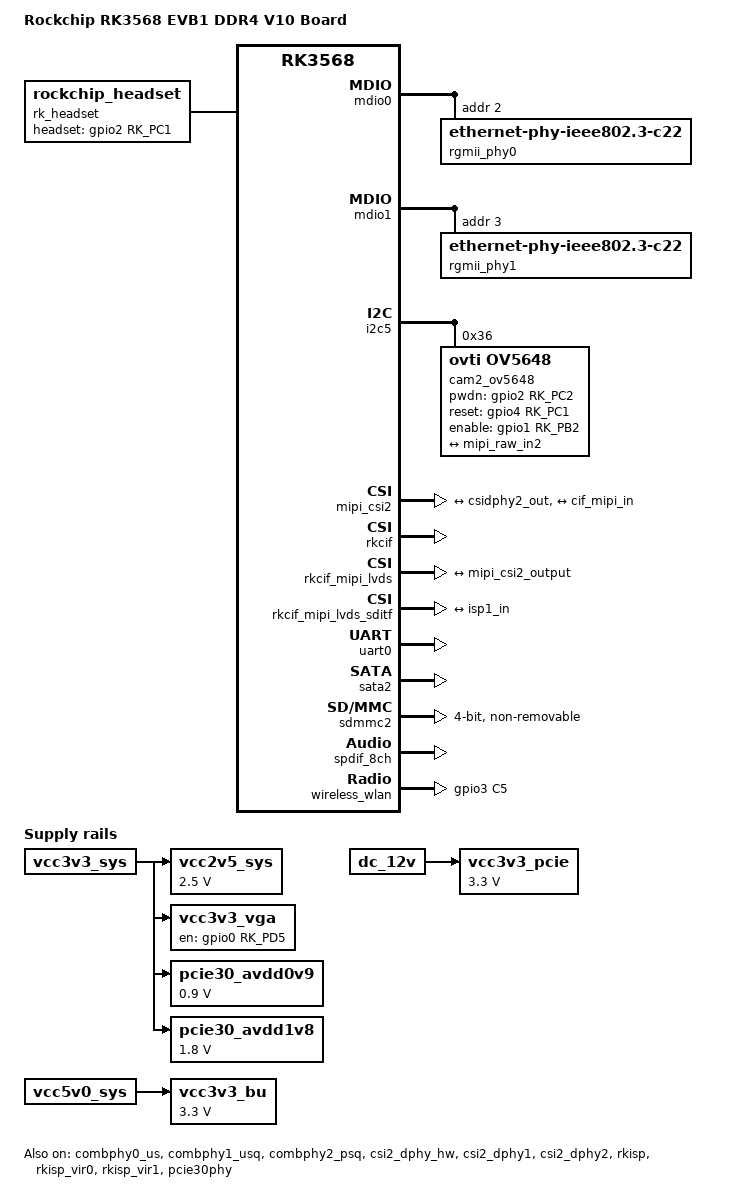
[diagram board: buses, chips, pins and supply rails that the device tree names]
// SPDX-License-Identifier: (GPL-2.0+ OR MIT)
/*
 * Copyright (c) 2020 Rockchip Electronics Co., Ltd.
 *
 */

/dts-v1/;

#include <dt-bindings/gpio/gpio.h>
#include <dt-bindings/pinctrl/rockchip.h>
#include "rk3568.dtsi"
#include "rk3568-jenet.dtsi"

/ {
	model = "Rockchip RK3568 EVB1 DDR4 V10 Board";
	compatible = "rockchip,rk3568-evb1-ddr4-v10", "rockchip,rk3568";

	rk_headset: rk-headset {
		status = "okay";
		compatible = "rockchip_headset";
		headset_gpio = <&gpio2 RK_PC1 GPIO_ACTIVE_HIGH>;
		pinctrl-names = "default";
		pinctrl-0 = <&hp_det>;
	};

	vcc2v5_sys: vcc2v5-ddr {
		compatible = "regulator-fixed";
		regulator-name = "vcc2v5-sys";
		regulator-always-on;
		regulator-boot-on;
		regulator-min-microvolt = <2500000>;
		regulator-max-microvolt = <2500000>;
		vin-supply = <&vcc3v3_sys>;
	};

	vcc3v3_vga: vcc3v3-vga {
		compatible = "regulator-fixed";
		regulator-name = "vcc3v3_vga";
		regulator-always-on;
		regulator-boot-on;
		gpio = <&gpio0 RK_PD5 GPIO_ACTIVE_HIGH>;
		enable-active-high;
		vin-supply = <&vcc3v3_sys>;
	};

	pcie30_avdd0v9: pcie30-avdd0v9 {
		compatible = "regulator-fixed";
		regulator-name = "pcie30_avdd0v9";
		regulator-always-on;
		regulator-boot-on;
		regulator-min-microvolt = <900000>;
		regulator-max-microvolt = <900000>;
		vin-supply = <&vcc3v3_sys>;
	};

	pcie30_avdd1v8: pcie30-avdd1v8 {
		compatible = "regulator-fixed";
		regulator-name = "pcie30_avdd1v8";
		regulator-always-on;
		regulator-boot-on;
		regulator-min-microvolt = <1800000>;
		regulator-max-microvolt = <1800000>;
		vin-supply = <&vcc3v3_sys>;
	};

	vcc3v3_pcie: gpio-regulator {
		compatible = "regulator-fixed";
		regulator-name = "vcc3v3_pcie";
		regulator-min-microvolt = <3300000>;
		regulator-max-microvolt = <3300000>;
		enable-active-high;
		//gpios = <&gpio0 RK_PD4 GPIO_ACTIVE_HIGH>;
		vin-supply = <&dc_12v>;
	};

	vcc3v3_bu: vcc3v3-bu {
		compatible = "regulator-fixed";
		regulator-name = "vcc3v3_bu";
		regulator-always-on;
		regulator-boot-on;
		regulator-min-microvolt = <3300000>;
		regulator-max-microvolt = <3300000>;
		vin-supply = <&vcc5v0_sys>;
	};
};

&combphy0_us {
	status = "okay";
};

&combphy1_usq {
	status = "okay";
};

&combphy2_psq {
	status = "okay";
};

&gmac0 {
	phy-mode = "rgmii";
	clock_in_out = "output";

	snps,reset-gpio = <&gpio2 RK_PC5 GPIO_ACTIVE_LOW>;            //RK_PB1    RK_PC5
	snps,reset-active-low;
	snps,reset-delays-us = <0 30000 150000>;

	assigned-clocks = <&cru SCLK_GMAC0_RX_TX>, <&cru SCLK_GMAC0>;
	assigned-clock-parents = <&cru SCLK_GMAC0_RGMII_SPEED>,<&cru CLK_MAC0_2TOP>;
	assigned-clock-rates = <0>, <125000000>;

	pinctrl-names = "default";
	pinctrl-0 = <&gmac0_miim
		     &gmac0_tx_bus2
		     &gmac0_rx_bus2
		     &gmac0_rgmii_clk
		     &gmac0_rgmii_bus>;

	tx_delay = <0x00>;
	rx_delay = <0x00>;

	phy-handle = <&rgmii_phy0>;
	status = "disabled";
};

&gmac1 {
	phy-mode = "rgmii";
	clock_in_out = "output";

	snps,reset-gpio = <&gpio3 RK_PD5 GPIO_ACTIVE_LOW>;     //gpio4 RK_PB5    gpio3 RK_PD5
	snps,reset-active-low;
	/* Reset time is 20ms, 100ms for rtl8211f */
	snps,reset-delays-us = <0 30000 150000>;

	assigned-clocks = <&cru SCLK_GMAC1_RX_TX>, <&cru SCLK_GMAC1>;
	assigned-clock-parents = <&cru SCLK_GMAC1_RGMII_SPEED>,<&cru CLK_MAC1_2TOP>;
	assigned-clock-rates = <0>, <125000000>;

	pinctrl-names = "default";
	pinctrl-0 = <&gmac1m1_miim
		     &gmac1m1_tx_bus2
		     &gmac1m1_rx_bus2
		     &gmac1m1_rgmii_clk
		     &gmac1m1_rgmii_bus>;

	tx_delay = <0x00>;
	rx_delay = <0x00>;

	phy-handle = <&rgmii_phy1>;
	status = "disabled";
};

&mdio0 {
	rgmii_phy0: phy@2{
		compatible = "ethernet-phy-ieee802.3-c22";
		reg = <0x2>;
	};
};

&mdio1 {
	rgmii_phy1: phy@3{
		compatible = "ethernet-phy-ieee802.3-c22";
		reg = <0x3>;
	};
};

&i2c4 {
	status = "disabled";

	gc8034: gc8034@37 {
		compatible = "galaxycore,gc8034";
		status = "disabled";
		reg = <0x37>;
		clocks = <&cru CLK_CIF_OUT>;
		clock-names = "xvclk";
		pinctrl-names = "default";
		pinctrl-0 = <&cif_clk>;
		reset-gpios = <&gpio3 RK_PB6 GPIO_ACTIVE_LOW>;
		pwdn-gpios = <&gpio4 RK_PB4 GPIO_ACTIVE_LOW>;
		rockchip,grf = <&grf>;
		power-domains = <&power RK3568_PD_VI>;
		rockchip,camera-module-index = <0>;
		rockchip,camera-module-facing = "back";
		rockchip,camera-module-name = "RK-CMK-8M-2-v1";
		rockchip,camera-module-lens-name = "CK8401";
		port {
			gc8034_out: endpoint {
				remote-endpoint = <&mipi_in_ucam1>;
				data-lanes = <1 2 3 4>;
			};
		};
	};

	os04a10: os04a10@36 {
		status = "disabled";
		compatible = "ovti,os04a10";
		reg = <0x36>;
		clocks = <&cru CLK_CIF_OUT>;
		clock-names = "xvclk";
		power-domains = <&power RK3568_PD_VI>;
		pinctrl-names = "default";
		pinctrl-0 = <&cif_clk>;
		reset-gpios = <&gpio3 RK_PB6 GPIO_ACTIVE_LOW>;
		pwdn-gpios = <&gpio4 RK_PB4 GPIO_ACTIVE_HIGH>;
		rockchip,camera-module-index = <0>;
		rockchip,camera-module-facing = "back";
		rockchip,camera-module-name = "CMK-OT1607-FV1";
		rockchip,camera-module-lens-name = "M12-40IRC-4MP-F16";
		port {
			ucam_out0: endpoint {
				remote-endpoint = <&mipi_in_ucam0>;
				data-lanes = <1 2 3 4>;
			};
		};
	};

	cam1_ov5648: cam1_ov5648@36 {
		status = "okay";
		compatible = "ovti,ov5648";
		reg = <0x36>;
		clocks = <&xin24m>;
		clock-names = "xvclk";
		power-domains = <&power RK3568_PD_VI>;
		pinctrl-names = "default";
		pinctrl-0 = <&ov5648_1_gpio>;
		pwdn-gpios = <&gpio1 RK_PB0 GPIO_ACTIVE_HIGH>;
		reset-gpios = <&gpio1 RK_PB1 GPIO_ACTIVE_HIGH>;
		enable-gpios = <&gpio1 RK_PA4 GPIO_ACTIVE_HIGH>;

		rockchip,camera-module-index = <0>;
		rockchip,camera-module-facing = "back";
		rockchip,camera-module-name = "THDS11073";
		rockchip,camera-module-lens-name = "Largan-40122a1";
		port {
			ov5648_1_out: endpoint {
				remote-endpoint = <&mipi_raw_in1>;
				data-lanes = <1 2>;
			};
		};
	};
};

&i2c5 {
	status = "okay";

	cam2_ov5648: cam2_ov5648@36 {
		status = "okay";
		compatible = "ovti,ov5648";
		reg = <0x36>;
		clocks = <&xin24m>;
		clock-names = "xvclk";
		power-domains = <&power RK3568_PD_VI>;
		pinctrl-names = "default";
		pinctrl-0 = <&ov5648_2_gpio>;
		pwdn-gpios = <&gpio2 RK_PC2 GPIO_ACTIVE_HIGH>;
		reset-gpios = <&gpio4 RK_PC1 GPIO_ACTIVE_HIGH>;
		enable-gpios = <&gpio1 RK_PB2 GPIO_ACTIVE_HIGH>;

		rockchip,camera-module-index = <0>;
		rockchip,camera-module-facing = "back";
		rockchip,camera-module-name = "THDS11073";
		rockchip,camera-module-lens-name = "Largan-40122a1";
		port {
			ov5648_2_out: endpoint {
				remote-endpoint = <&mipi_raw_in2>;
				data-lanes = <1 2>;
			};
		};
	};
};

&csi2_dphy_hw {
	status = "okay";
};

&csi2_dphy0 {
	status = "disabled";

	ports {
		#address-cells = <1>;
		#size-cells = <0>;
		port@0 {
			reg = <0>;
			#address-cells = <1>;
			#size-cells = <0>;

			mipi_in_ucam0: endpoint@0 {
				reg = <0>;
				remote-endpoint = <&ucam_out0>;
				data-lanes = <1 2 3 4>;
			};
			mipi_in_ucam1: endpoint@1 {
				reg = <1>;
				remote-endpoint = <&gc8034_out>;
				data-lanes = <1 2 3 4>;
			};
		};
		port@1 {
			reg = <1>;
			#address-cells = <1>;
			#size-cells = <0>;
/*
			csidphy_out: endpoint@0 {
				reg = <0>;
				remote-endpoint = <&isp0_in>;
			};
*/
		};
	};
};

&csi2_dphy1 {
	status = "okay";

	ports {
		#address-cells = <1>;
		#size-cells = <0>;

		port@0 {
			reg = <0>;
			#address-cells = <1>;
            #size-cells = <0>;

			mipi_raw_in1: endpoint@1 {
				reg = <1>;
				remote-endpoint = <&ov5648_1_out>;
				data-lanes = <1 2>;
			};
		};
		port@1 {
			reg = <1>;
			#address-cells = <1>;
            #size-cells = <0>;

			csidphy1_out: endpoint@1 {
				reg = <1>;
				remote-endpoint = <&isp0_in>;
			};
		};
	};
};

&csi2_dphy2 {
	status = "okay";

	ports {
		#address-cells = <1>;
		#size-cells = <0>;

		port@0 {
			reg = <0>;
			#address-cells = <1>;
            #size-cells = <0>;

			mipi_raw_in2: endpoint@1 {
				reg = <1>;
				remote-endpoint = <&ov5648_2_out>;
				data-lanes = <1 2>;
			};
		};
		port@1 {
			reg = <1>;
			#address-cells = <1>;
            #size-cells = <0>;

			csidphy2_out: endpoint@0 {
				reg = <0>;
				remote-endpoint = <&mipi_csi2_input>;
			};
		};
	};
};

&mipi_csi2 {
    status = "okay";

    ports {
        #address-cells = <1>;
        #size-cells = <0>;

        port@0 {
            reg = <0>;
            #address-cells = <1>;
            #size-cells = <0>;

            mipi_csi2_input: endpoint@1 {
                reg = <1>;
                remote-endpoint = <&csidphy2_out>;
                data-lanes = <1 2>;
            };
        };

        port@1 {
            reg = <1>;
            #address-cells = <1>;
            #size-cells = <0>;

            mipi_csi2_output: endpoint@0 {
                reg = <0>;
                remote-endpoint = <&cif_mipi_in>;
                data-lanes = <1 2>;
			};
        };
    };
};

&rkcif_dvp {
    status = "disabled";
};

&rkcif {
    status = "okay";
};

&rkcif_mipi_lvds {
    status = "okay";
    port {
        cif_mipi_in: endpoint {
            remote-endpoint = <&mipi_csi2_output>;
            data-lanes = <1 2>;
        };
    };
};

&rkcif_mipi_lvds_sditf {
    status = "okay";
    port {
        mipi_lvds_sditf: endpoint {
            remote-endpoint = <&isp1_in>;
            data-lanes = <1 2>;
        };
    };
};

&rkisp {
	status = "okay";
};

&rkcif_mmu {
    status = "okay";
};

&rkisp_mmu {
	status = "okay";
};

&rkisp_vir0 {
	status = "okay";

	port {
		#address-cells = <1>;
		#size-cells = <0>;

		isp0_in: endpoint@0 {
			reg = <0>;
			remote-endpoint = <&csidphy1_out>;
		};
	};
};

&rkisp_vir1 {
	status = "okay";
	
	port {
		#address-cells = <1>;
		#size-cells = <0>;
	
		isp1_in: endpoint@0 {
			reg = <0>;
			remote-endpoint = <&mipi_lvds_sditf>;
		};			
	};
};

&pcie30phy {
	status = "okay";
};

&pcie3x2 {
	reset-gpios = <&gpio2 RK_PD6 GPIO_ACTIVE_HIGH>;
	vpcie3v3-supply = <&vcc3v3_pcie>;
	status = "disabled";
};

&uart0 {
	pinctrl-names = "default";
 	pinctrl-0 = <&uart0_xfer &uart0_rtsn>;
	status = "okay";
};

&pinctrl {
	headphone {
		hp_det: hp-det {
			rockchip,pins = <2 RK_PC1 RK_FUNC_GPIO &pcfg_pull_none>;
		};
	};

	wireless-wlan {
		wifi_host_wake_irq: wifi-host-wake-irq {
			rockchip,pins = <3 RK_PC5 RK_FUNC_GPIO &pcfg_pull_down>;
		};
	};

	wireless-bluetooth {
		uart8_gpios: uart8-gpios {
			rockchip,pins = <2 RK_PB1 RK_FUNC_GPIO &pcfg_pull_none>;
		};
	};

	ov5648 {
        ov5648_1_gpio: ov5648_1_gpio{
            rockchip,pins = <1 RK_PB0 RK_FUNC_GPIO &pcfg_pull_none>,
  		                    <1 RK_PB1 RK_FUNC_GPIO &pcfg_pull_none>,
							<1 RK_PA4 RK_FUNC_GPIO &pcfg_pull_none>;						
               };
	
		ov5648_2_gpio: ov5648_2_gpio{
            rockchip,pins = <2 RK_PC2 RK_FUNC_GPIO &pcfg_pull_none>,
  		                    <4 RK_PC1 RK_FUNC_GPIO &pcfg_pull_none>,
							<1 RK_PB2 RK_FUNC_GPIO &pcfg_pull_none>;						
               };	

       };
       
       uart8 {
       		uart8m0_xfer:uart8m0-xfer {
			rockchip,pins = <2 RK_PC0 2 &pcfg_pull_up>,<2 RK_PB7 3 &pcfg_pull_up>; 
		};
		uart8m0_ctsn:uart8m0-ctsn {
			rockchip,pins = <2 RK_PB2 3 &pcfg_pull_none>;  
		}; 
		uart8m0_rtsn: uart8m0-rtsn {
			rockchip,pins = <2 RK_PB1 3 &pcfg_pull_none>;  
		};
	};
};

&sata2 {
	status = "okay";
};

&sdmmc2 {
	max-frequency = <150000000>;
	supports-sdio;
	bus-width = <4>;
	disable-wp;
	cap-sd-highspeed;
	cap-sdio-irq;
	keep-power-in-suspend;
	mmc-pwrseq = <&sdio_pwrseq>;
	non-removable;
	pinctrl-names = "default";
	pinctrl-0 = <&sdmmc2m0_bus4 &sdmmc2m0_cmd &sdmmc2m0_clk>;
	sd-uhs-sdr104;  //支持sdio3.0
	status = "okay";
};

&spdif_8ch {
	status = "okay";
	pinctrl-names = "default";
	pinctrl-0 = <&spdifm1_tx>;
};

&vcc3v3_lcd1_n {
	gpio = <&gpio0 RK_PC5 GPIO_ACTIVE_HIGH>;
	enable-active-high;
};

&wireless_wlan {
	pinctrl-names = "default";
	pinctrl-0 = <&wifi_host_wake_irq>;
	WIFI,host_wake_irq = <&gpio3 RK_PC5 GPIO_ACTIVE_LOW>;
};

&wireless_bluetooth {
	compatible = "bluetooth-platdata";
	clocks = <&rk809 1>;
	clock-names = "ext_clock";
	wifi-bt-power-toggle;
	uart_rts_gpios = <&gpio2 RK_PB1 GPIO_ACTIVE_LOW>;
	pinctrl-names = "default", "rts_gpio";
	pinctrl-0 = <&uart8m0_rtsn>;
	pinctrl-1 = <&uart8_gpios>;
	BT,reset_gpio    = <&gpio3 RK_PA0 GPIO_ACTIVE_HIGH>;
	BT,wake_gpio     = <&gpio3 RK_PB5 GPIO_ACTIVE_HIGH>;
	BT,wake_host_irq = <&gpio2 RK_PD7 GPIO_ACTIVE_HIGH>;
	status = "disabled";
};
